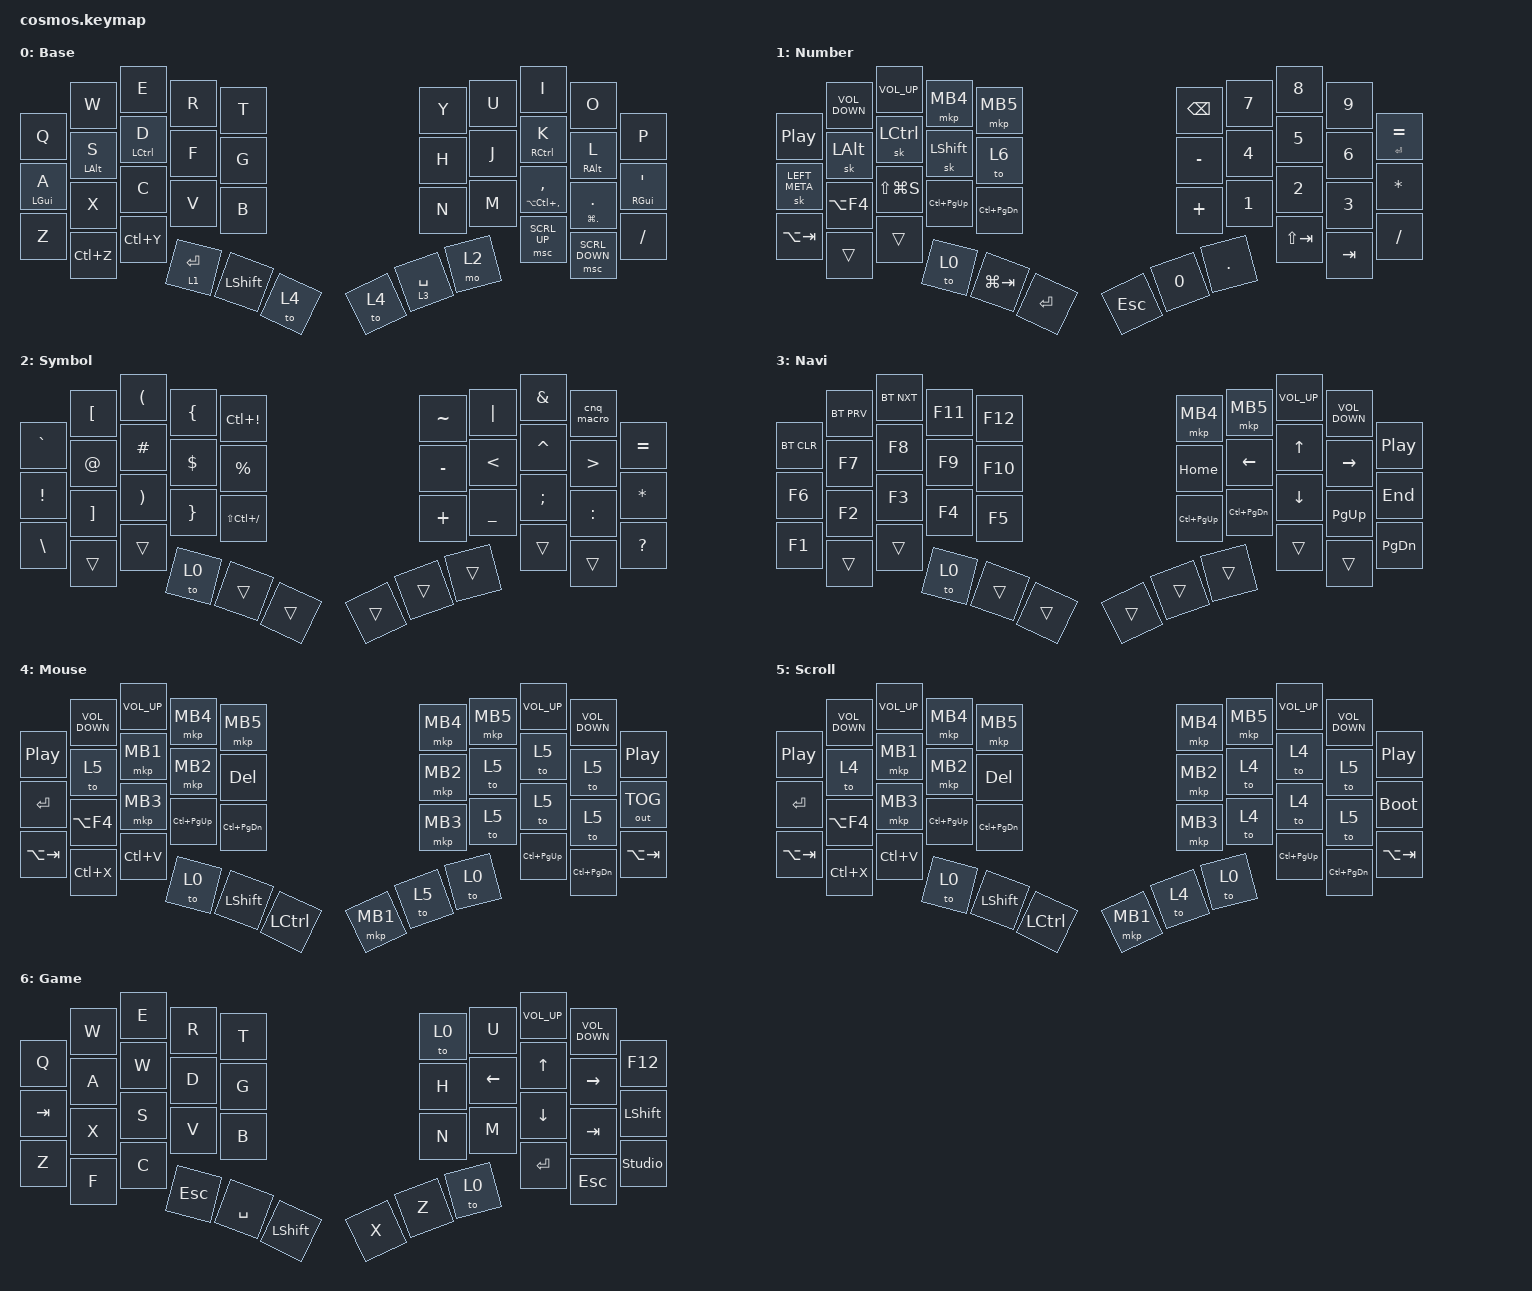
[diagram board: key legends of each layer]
/*
    No chosen zmk,matrix-transform here if using ZMK stuidio.
    https://zmk.dev/docs/features/studio#adding-zmk-studio-support-to-a-keyboard
*/

#include <input/processors.dtsi>
#include <dt-bindings/zmk/mouse.h>
#include <dt-bindings/zmk/input_transform.h>
#include <zephyr/dt-bindings/input/input-event-codes.h>
#include <behaviors.dtsi>
#include <dt-bindings/zmk/bt.h>
#include <dt-bindings/zmk/keys.h>
#include <dt-bindings/zmk/pointing.h>
#include <dt-bindings/zmk/outputs.h>

// keep all behavior settings for zmk studio
#define ZMK_BEHAVIORS_OMIT_KT

// layers

#define BASE 0
#define NUM 1
#define SYM 2
#define NAV 3
#define MOUSE 4
#define SCROLL 5
#define GAME 6
#define COMBO_REQUIRE_DELAY 100

&mt {
    flavor = "tap-preferred";
    tapping-term-ms = <200>;

    // flavor = "balanced";
    // tapping-term-ms = <170>;
};

&sk { quick-release; };

&sl { release-after-ms = <1500>; };

/ {
    behaviors {
        holdtap_comma: holdtap_comma {
            compatible = "zmk,behavior-hold-tap";
            flavor = "balanced";
            bindings = <&kp>, <&kp>;

            #binding-cells = <2>;
            tapping-term-ms = <200>;
            hold-trigger-key-positions = <27>;
        };

        holdtap_period: holdtap_period {
            compatible = "zmk,behavior-hold-tap";
            flavor = "balanced";
            bindings = <&kp>, <&kp>;

            #binding-cells = <2>;
            tapping-term-ms = <200>;
            hold-trigger-key-positions = <28>;
        };

        holdtap_equal_enter: holdtap_equal_enter {
            compatible = "zmk,behavior-hold-tap";
            flavor = "balanced";
            bindings = <&kp>, <&kp>;

            #binding-cells = <2>;
            tapping-term-ms = <200>;
            hold-trigger-key-positions = <9>;
        };
    };

    combos {
        compatible = "zmk,combos";

        combo_esc {
            timeout-ms = <50>;
            key-positions = <0 1>;
            bindings = <&kp ESC>;
        };

        combo_tab {
            timeout-ms = <50>;
            key-positions = <21 22>;
            bindings = <&kp TAB>;
        };

        combo_return {
            timeout-ms = <50>;
            key-positions = <27 28>;
            bindings = <&kp RETURN>;
        };

        combo_manager {
            timeout-ms = <50>;
            key-positions = <0 2>;
            require-prior-idle-ms = <COMBO_REQUIRE_DELAY>;
            bindings = <&kp LS(LC(ESCAPE))>;
        };

        combo_highlight {
            timeout-ms = <50>;
            key-positions = <16 19>;
            bindings = <&highlight_macro>;
        };

        combo_toggle1 {
            bindings = <&tog 1>;
            key-positions = <32 33>;
            layers = <0 1 2 3>;
        };

        combo_toggle3 {
            bindings = <&tog 3>;
            key-positions = <36 37>;
            layers = <0 1 2 3>;
        };

        combo_backspace_1 {
            bindings = <&kp BACKSPACE>;
            key-positions = <11 12>;
            require-prior-idle-ms = <COMBO_REQUIRE_DELAY>;
            timeout-ms = <30>;
            layers = <0 1 2 3 4 5>;
        };

        combo_delete_2 {
            bindings = <&kp DELETE>;
            key-positions = <12 13>;
            require-prior-idle-ms = <COMBO_REQUIRE_DELAY>;
            timeout-ms = <30>;
            layers = <0 1 2 3 4 5>;
        };

        combo_backspace_2 {
            bindings = <&kp BACKSPACE>;
            key-positions = <16 17>;
            require-prior-idle-ms = <COMBO_REQUIRE_DELAY>;
            layers = <0 1 2 3 4 5>;
            timeout-ms = <30>;
        };

        combo_delete_1 {
            bindings = <&kp DELETE>;
            key-positions = <17 18>;
            require-prior-idle-ms = <COMBO_REQUIRE_DELAY>;
            layers = <0 1 2 3 4 5>;
            timeout-ms = <30>;
        };

        combo_copy {
            bindings = <&kp LC(C)>;
            key-positions = <22 23>;
            require-prior-idle-ms = <COMBO_REQUIRE_DELAY>;
            layers = <0 1 2 3 4 5>;
        };
    };

    macros {
        cnq_macro: cnq_macro {
            compatible = "zmk,behavior-macro";
            #binding-cells = <0>;
            bindings = <&kp GRAVE &kp LBKT &kp GRAVE &kp RIGHT_BRACKET &kp LEFT_ARROW &kp LEFT_ARROW &kp DOWN_ARROW &kp DOWN_ARROW &kp ENTER>;
        };

        highlight_macro: highlight_macro {
            compatible = "zmk,behavior-macro";
            #binding-cells = <0>;
            bindings = <&kp HOME &kp LS(END)>;
        };
    };

    keymap {
        compatible = "zmk,keymap";

        _BASE {
            display-name = "Base";
            bindings = <
&kp Q           &kp W           &kp E               &kp R        &kp T                     &kp Y        &kp U  &kp I                               &kp O                              &kp P
&mt LEFT_GUI A  &mt LEFT_ALT S  &mt LEFT_CONTROL D  &kp F        &kp G                     &kp H        &kp J  &mt RIGHT_CONTROL K                 &mt RIGHT_ALT L                    &mt RIGHT_GUI SQT
&kp Z           &kp X           &kp C               &kp V        &kp B                     &kp N        &kp M  &holdtap_comma LA(LC(COMMA)) COMMA  &holdtap_period LG(PERIOD) PERIOD  &kp FSLH
                &kp LC(Z)       &kp LC(Y)           &lt 1 ENTER  &kp LSHIFT  &to 4  &to 4  &lt 3 SPACE  &mo 2  &msc SCRL_UP                        &msc SCRL_DOWN
            >;
        };

        _NUM {
            display-name = "Number";
            bindings = <
&kp C_PLAY_PAUSE  &kp C_VOLUME_DOWN  &kp C_VOLUME_UP   &mkp MB4         &mkp MB5                               &kp BACKSPACE  &kp NUMBER_7  &kp NUMBER_8  &kp NUMBER_9  &holdtap_equal_enter ENTER EQUAL
&sk LEFT_META     &sk LEFT_ALT       &sk LEFT_CONTROL  &sk LEFT_SHIFT   &to 6                                  &kp MINUS      &kp NUMBER_4  &kp NUMBER_5  &kp NUMBER_6  &kp ASTERISK
&kp LA(TAB)       &kp LA(F4)         &kp LS(LG(S))     &kp LC(PAGE_UP)  &kp LC(PAGE_DOWN)                      &kp PLUS       &kp NUMBER_1  &kp NUMBER_2  &kp NUMBER_3  &kp FSLH
                  &trans             &trans            &to 0            &kp LG(TAB)        &kp ENTER  &kp ESC  &kp NUMBER_0   &kp DOT       &kp LS(TAB)   &kp TAB
            >;
        };

        _SYM {
            display-name = "Symbol";
            bindings = <
&kp GRAVE        &kp LEFT_BRACKET   &kp LEFT_PARENTHESIS   &kp LEFT_BRACE   &kp LC(EXCLAMATION)                  &kp TILDE  &kp PIPE        &kp AMPERSAND  &cnq_macro        &kp EQUAL
&kp EXCLAMATION  &kp AT_SIGN        &kp HASH               &kp DOLLAR       &kp PERCENT                          &kp MINUS  &kp LESS_THAN   &kp CARET      &kp GREATER_THAN  &kp ASTERISK
&kp BACKSLASH    &kp RIGHT_BRACKET  &kp RIGHT_PARENTHESIS  &kp RIGHT_BRACE  &kp LS(LC(SLASH))                    &kp PLUS   &kp UNDERSCORE  &kp SEMICOLON  &kp COLON         &kp QUESTION
                 &trans             &trans                 &to 0            &trans               &trans  &trans  &trans     &trans          &trans         &trans
            >;
        };

        _NAV {
            display-name = "Navi";
            bindings = <
&bt BT_CLR  &bt BT_PRV  &bt BT_NXT  &kp F11  &kp F12                  &mkp MB4         &mkp MB5           &kp C_VOLUME_UP  &kp C_VOLUME_DOWN  &kp C_PLAY_PAUSE
&kp F6      &kp F7      &kp F8      &kp F9   &kp F10                  &kp HOME         &kp LEFT           &kp UP           &kp RIGHT          &kp END
&kp F1      &kp F2      &kp F3      &kp F4   &kp F5                   &kp LC(PAGE_UP)  &kp LC(PAGE_DOWN)  &kp DOWN         &kp PAGE_UP        &kp PAGE_DOWN
            &trans      &trans      &to 0    &trans   &trans  &trans  &trans           &trans             &trans           &trans
            >;
        };

        _MOUSE {
            display-name = "Mouse";
            bindings = <
&kp C_PLAY_PAUSE  &kp C_VOLUME_DOWN  &kp C_VOLUME_UP  &mkp MB4         &mkp MB5                                       &mkp MB4  &mkp MB5  &kp C_VOLUME_UP  &kp C_VOLUME_DOWN  &kp C_PLAY_PAUSE
&kp ENTER         &to 5              &mkp MB1         &mkp MB2         &kp DEL                                        &mkp MB2  &to 5     &to 5            &to 5              &out OUT_TOG
&kp LA(TAB)       &kp LA(F4)         &mkp MB3         &kp LC(PAGE_UP)  &kp LC(PAGE_DOWN)                              &mkp MB3  &to 5     &to 5            &to 5              &kp LA(TAB)
                  &kp LC(X)          &kp LC(V)        &to 0            &kp LSHIFT         &kp LEFT_CONTROL  &mkp MB1  &to 5     &to 0     &kp LC(PAGE_UP)  &kp LC(PAGE_DOWN)
            >;
        };

        _SCROLL {
            display-name = "Scroll";
            bindings = <
&kp C_PLAY_PAUSE  &kp C_VOLUME_DOWN  &kp C_VOLUME_UP  &mkp MB4         &mkp MB5                                       &mkp MB4  &mkp MB5  &kp C_VOLUME_UP  &kp C_VOLUME_DOWN  &kp C_PLAY_PAUSE
&kp ENTER         &to 4              &mkp MB1         &mkp MB2         &kp DEL                                        &mkp MB2  &to 4     &to 4            &to 5              &bootloader
&kp LA(TAB)       &kp LA(F4)         &mkp MB3         &kp LC(PAGE_UP)  &kp LC(PAGE_DOWN)                              &mkp MB3  &to 4     &to 4            &to 5              &kp LA(TAB)
                  &kp LC(X)          &kp LC(V)        &to 0            &kp LSHIFT         &kp LEFT_CONTROL  &mkp MB1  &to 4     &to 0     &kp LC(PAGE_UP)  &kp LC(PAGE_DOWN)
            >;
        };

        _GAME {
            display-name = "Game";
            bindings = <
&kp Q    &kp W  &kp E  &kp R    &kp T                             &to 0  &kp U     &kp C_VOLUME_UP  &kp C_VOLUME_DOWN  &kp F12
&kp TAB  &kp A  &kp W  &kp D    &kp G                             &kp H  &kp LEFT  &kp UP           &kp RIGHT          &kp LSHIFT
&kp Z    &kp X  &kp S  &kp V    &kp B                             &kp N  &kp M     &kp DOWN         &kp TAB            &studio_unlock
         &kp F  &kp C  &kp ESC  &kp SPACE  &kp LEFT_SHIFT  &kp X  &kp Z  &to 0     &kp ENTER        &kp ESC
            >;
        };

        _EXTRA1 { status = "reserved"; };

        _EXTRA2 { status = "reserved"; };
    };
};
